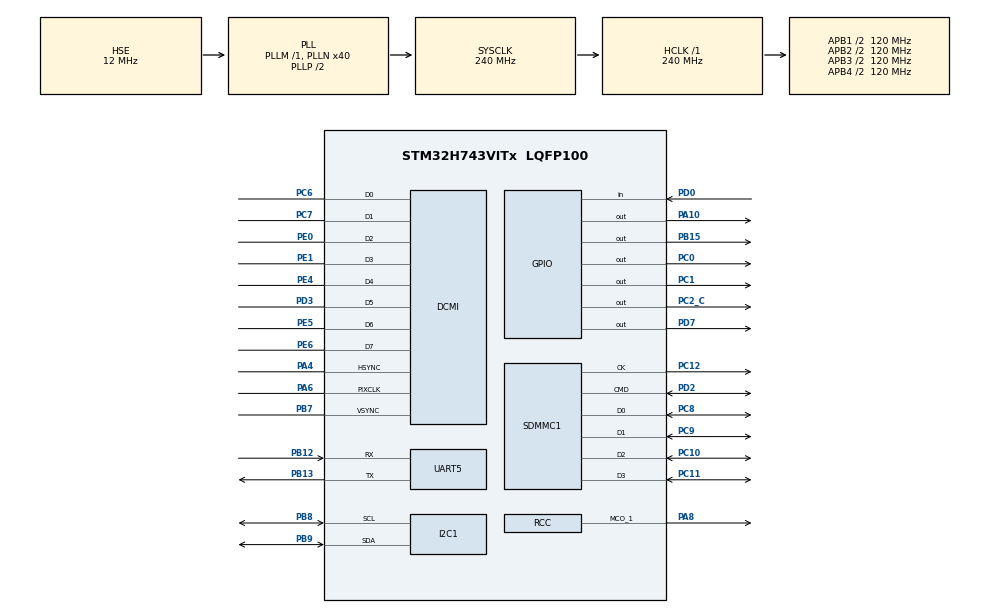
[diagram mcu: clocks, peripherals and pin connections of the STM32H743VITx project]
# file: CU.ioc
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DCMI.HSPolarity=DCMI_HSPOLARITY_LOW
DCMI.LineSelectMode=DCMI_LSM_ALL
DCMI.PCKPolarity=DCMI_PCKPOLARITY_RISING
DCMI.VSPolarity=DCMI_VSPOLARITY_HIGH
Dma.DCMI.0.Direction=DMA_PERIPH_TO_MEMORY
Dma.DCMI.0.EventEnable=DISABLE
Dma.DCMI.0.FIFOMode=DMA_FIFOMODE_DISABLE
Dma.DCMI.0.Instance=DMA1_Stream0
Dma.DCMI.0.MemDataAlignment=DMA_MDATAALIGN_WORD
Dma.DCMI.0.MemInc=DMA_MINC_ENABLE
Dma.DCMI.0.Mode=DMA_CIRCULAR
Dma.DCMI.0.PeriphDataAlignment=DMA_PDATAALIGN_WORD
Dma.DCMI.0.PeriphInc=DMA_PINC_DISABLE
Dma.DCMI.0.Polarity=HAL_DMAMUX_REQ_GEN_RISING
Dma.DCMI.0.Priority=DMA_PRIORITY_LOW
Dma.DCMI.0.RequestNumber=1
Dma.DCMI.0.SignalID=NONE
Dma.DCMI.0.SyncEnable=DISABLE
Dma.DCMI.0.SyncPolarity=HAL_DMAMUX_SYNC_NO_EVENT
Dma.DCMI.0.SyncRequestNumber=1
Dma.DCMI.0.SyncSignalID=NONE
Dma.Request0=DCMI
FATFS.BSP.number=1
FATFS0.BSP.STBoard=false
FATFS0.BSP.api=Unknown
FATFS0.BSP.i2caddr=0
FATFS0.BSP.instance=PD0
FATFS0.BSP.ip=GPIO
FATFS0.BSP.mode=Input
FATFS0.BSP.name=Detect_SDIO
FATFS0.BSP.solution=PD0
I2C1.Speed=100
I2C1.Timing=0x307075B1
Mcu.Family=STM32H7
Mcu.Name=STM32H743VITx
Mcu.Package=LQFP100
NVIC.DMA1_Stream0_IRQn=true\:0\:0\:false\:false\:true\:false\:true
NVIC.PriorityGroup=NVIC_PRIORITYGROUP_4
NVIC.TIM2_IRQn=true\:0\:0\:true\:false\:true\:true\:true
NVIC.UART5_IRQn=true\:0\:0\:false\:false\:true\:true\:true
PA10.PinState=GPIO_PIN_SET
PA10.Signal=GPIO_Output
PA4.Mode=Slave_8_bits_External_Synchro
PA4.Signal=DCMI_HSYNC
PA6.Mode=Slave_8_bits_External_Synchro
PA6.Signal=DCMI_PIXCLK
PA8.Mode=Clock-out-1
PA8.Signal=RCC_MCO_1
PB12.Mode=Asynchronous
PB12.Signal=UART5_RX
PB13.Mode=Asynchronous
PB13.Signal=UART5_TX
PB15.Signal=GPIO_Output
PB7.Mode=Slave_8_bits_External_Synchro
PB7.Signal=DCMI_VSYNC
PB8.Mode=I2C
PB8.Signal=I2C1_SCL
PB9.Mode=I2C
PB9.Signal=I2C1_SDA
PC0.GPIO_ModeDefaultOutputPP=GPIO_MODE_OUTPUT_OD
PC0.Signal=GPIO_Output
PC1.GPIO_ModeDefaultOutputPP=GPIO_MODE_OUTPUT_OD
PC1.Signal=GPIO_Output
PC10.Mode=SD_4_bits_Wide_bus
PC10.Signal=SDMMC1_D2
PC11.Mode=SD_4_bits_Wide_bus
PC11.Signal=SDMMC1_D3
PC12.Mode=SD_4_bits_Wide_bus
PC12.Signal=SDMMC1_CK
PC2_C.GPIO_ModeDefaultOutputPP=GPIO_MODE_OUTPUT_OD
PC2_C.GPIO_PuPd=GPIO_NOPULL
PC2_C.PinState=GPIO_PIN_RESET
PC2_C.Signal=GPIO_Output
PC6.Mode=Slave_8_bits_External_Synchro
PC6.Signal=DCMI_D0
PC7.Mode=Slave_8_bits_External_Synchro
PC7.Signal=DCMI_D1
PC8.Mode=SD_4_bits_Wide_bus
PC8.Signal=SDMMC1_D0
PC9.Mode=SD_4_bits_Wide_bus
PC9.Signal=SDMMC1_D1
PD0.Signal=GPIO_Input
PD2.Mode=SD_4_bits_Wide_bus
PD2.Signal=SDMMC1_CMD
PD3.Mode=Slave_8_bits_External_Synchro
PD3.Signal=DCMI_D5
PD7.Signal=GPIO_Output
PE0.Mode=Slave_8_bits_External_Synchro
PE0.Signal=DCMI_D2
PE1.Mode=Slave_8_bits_External_Synchro
PE1.Signal=DCMI_D3
PE4.Mode=Slave_8_bits_External_Synchro
PE4.Signal=DCMI_D4
PE5.Mode=Slave_8_bits_External_Synchro
PE5.Signal=DCMI_D6
PE6.Mode=Slave_8_bits_External_Synchro
PE6.Signal=DCMI_D7
PH0-OSC_IN\ (PH0).Mode=HSE-External-Oscillator
PH0-OSC_IN\ (PH0).Signal=RCC_OSC_IN
PH1-OSC_OUT\ (PH1).Mode=HSE-External-Oscillator
PH1-OSC_OUT\ (PH1).Signal=RCC_OSC_OUT
ProjectManager.HeapSize=0x200
ProjectManager.StackSize=0x400
ProjectManager.TargetToolchain=MDK-ARM V5
RCC.ADCFreq_Value=240000000
RCC.APB1Freq_Value=120000000
RCC.APB2Freq_Value=120000000
RCC.APB3Freq_Value=120000000
RCC.APB4Freq_Value=120000000
RCC.CortexFreq_Value=240000000
RCC.D1PPRE=RCC_APB3_DIV2
RCC.D2PPRE1=RCC_APB1_DIV2
RCC.D2PPRE2=RCC_APB2_DIV2
RCC.D3PPRE=RCC_APB4_DIV2
RCC.DIVM1=1
RCC.DIVM2=1
RCC.DIVN1=40
RCC.DIVN2=40
RCC.DIVN3=40
RCC.DIVR2=10
RCC.EnbaleCSS=true
RCC.HCLKFreq_Value=240000000
RCC.HSE_VALUE=12000000
RCC.PLLSourceVirtual=RCC_PLLSOURCE_HSE
RCC.PWR_Regulator_Voltage_Scale=PWR_REGULATOR_VOLTAGE_SCALE0
RCC.RCC_MCO1Source=RCC_MCO1SOURCE_HSI48
RCC.RCC_MCODiv1=RCC_MCODIV_2
RCC.SDMMC1CLockSelection=RCC_SDMMCCLKSOURCE_PLL2
RCC.SYSCLKFreq_VALUE=240000000
RCC.SYSCLKSource=RCC_SYSCLKSOURCE_PLLCLK
RCC.USBFreq_Value=240000000
SDMMC1.ClockDiv=2
TIM2.AutoReloadPreload=TIM_AUTORELOAD_PRELOAD_ENABLE
TIM2.ClockDivision=TIM_CLOCKDIVISION_DIV4
TIM2.Period=1999
TIM2.Prescaler=29999
VP_FATFS_VS_SDIO.Mode=SDIO
VP_TIM2_VS_ClockSourceINT.Mode=Internal
board=custom

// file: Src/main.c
/* USER CODE BEGIN Header */
/**
  ******************************************************************************
  * @file           : main.c
  * @brief          : Main program body
  ******************************************************************************
  * @attention
  *
  * <h2><center>&copy; Copyright (c) 2022 STMicroelectronics.
  * All rights reserved.</center></h2>
  *
  * This software component is licensed by ST under Ultimate Liberty license
  * SLA0044, the "License"; You may not use this file except in compliance with
  * the License. You may obtain a copy of the License at:
  *                             www.st.com/SLA0044
  *
  ******************************************************************************
  */
/* USER CODE END Header */

#include "main.h"
#include "dcmi.h"
#include "dma.h"
#include "fatfs.h"
#include "i2c.h"
#include "sdmmc.h"
#include "tim.h"
#include "usart.h"
#include "gpio.h"

/* USER CODE BEGIN Includes */
#include "bmp.h"
/* USER CODE END Includes */

/* USER CODE BEGIN PD */

#define RxBuffer_MaxSize 256

/* USER CODE END PD */

/* USER CODE BEGIN PV */
FATFS fs;
FIL fil;

uint32_t byteswritten;                /* File write counts */
uint32_t bytesread;                   /* File read counts */
uint8_t wtext[] = "This is STM32 working with FatFs"; /* File write buffer */
uint8_t rtext[100];                     /* File read buffers */
char filename[] = "STM.txt";
FRESULT a[5];
uint8_t d=0x00,cd=0x8c; //d发送数据；cd地址，u地址
uint8_t collect[151]; //收集数据
uint32_t buffer[2*320*240/4] __attribute__((section(".ARM.__at_0x24000000")));
HAL_StatusTypeDef b;
uint16_t tmp=0;
char RxBuffer[RxBuffer_MaxSize];
uint8_t aRxBuffer;
uint8_t UART5_Rx_Cnt =0;

/* USER CODE END PV */

void SystemClock_Config(void);
/* USER CODE BEGIN PFP */
void read_Data(uint8_t regadd,uint8_t *data);
/* USER CODE END PFP */

int main(void)
{
  /* USER CODE BEGIN 1 */
	int i;

	BMP bmp;

  /* USER CODE END 1 */

  /* MCU Configuration--------------------------------------------------------*/

  /* Reset of all peripherals, Initializes the Flash interface and the Systick. */
  HAL_Init();

  /* Configure the system clock */
  SystemClock_Config();

  /* Initialize all configured peripherals */
  MX_GPIO_Init();
  MX_DMA_Init();
  MX_TIM2_Init();
  MX_SDMMC1_SD_Init();
  MX_FATFS_Init();
  MX_DCMI_Init();
  MX_I2C1_Init();
  MX_UART5_Init();
  /* USER CODE BEGIN 2 */

//写8c寄存器
	HAL_I2C_Mem_Write(&hi2c1,0x42,0x8c,1,&d,1,1);

	HAL_I2C_Master_Transmit(&hi2c1,0x42,&cd,1,1);
	HAL_I2C_Master_Receive(&hi2c1,0x42,collect,1,1);

//写8c寄存器
  d=0x01;
	HAL_I2C_Mem_Write(&hi2c1,0x42,0x8c,1,&d,1,1);

	HAL_I2C_Master_Transmit(&hi2c1,0x42,&cd,1,1);
	HAL_I2C_Master_Receive(&hi2c1,0x42,collect,1,1);

	wrOV7670Reg(0x12,0x80);
	//延时函数
	i=10000;
	while(i>0)
	{
		i--;
		i++;
		i--;
		i++;
		i--;
		i++;
		i--;
		i++;
		i--;
		i++;
		i--;
		i++;
		i--;
		i++;
		i--;
		i++;
		i--;
		i++;
		i--;
		i++;
		i--;
		i++;
		i--;
		i++;
		i--;
	}
	set_OV7670reg();

	HAL_GPIO_TogglePin(GPIOB,GPIO_PIN_15);
  HAL_DCMI_Start_DMA(&hdcmi,DCMI_MODE_SNAPSHOT,(uint32_t)&buffer[0],2*320*240/4);
	HAL_GPIO_TogglePin(GPIOB,GPIO_PIN_15);

//  HAL_DMA_Start_IT(((&hdcmi)->DMA_Handle),0x48020028,(uint32_t)&buffer[0],1);
  a[0]=f_mount(&fs, "", 0);

	bmp.bitmapfileheader.bfType=0x4D42;
//	bmp.bitmapfileheader.bfType=0xFFFF;
	bmp.bitmapfileheader.bfSize=40+14+320*240*2;
//	bmp.bitmapfileheader.bfSize=0xFFFFFFFF;

	bmp.bitmapfileheader.bfReserved1=0;
	bmp.bitmapfileheader.bfReserved2=0;
	bmp.bitmapfileheader.bfOffBits=54;

	bmp.bitmapinfoheader.biSize=40;
	bmp.bitmapinfoheader.biWidth=320;
	bmp.bitmapinfoheader.biHeight=240;
	bmp.bitmapinfoheader.biPlanes=1;
	bmp.bitmapinfoheader.biBitCount=16;
	bmp.bitmapinfoheader.biCompression=0;
	bmp.bitmapinfoheader.biSizeImage=0;
	bmp.bitmapinfoheader.biXPelsPerMeter=0;
	bmp.bitmapinfoheader.biYPelsPerMeter=0;
	bmp.bitmapinfoheader.biClrUsed=0;
	bmp.bitmapinfoheader.biClrImportant=0;

	bmp.pixel=(unsigned short *)buffer;

  a[1]=f_open(&fil, "1.bmp", FA_CREATE_ALWAYS | FA_WRITE);
  a[2]=f_write(&fil, &bmp.bitmapfileheader, sizeof(bmp.bitmapfileheader), (void *)&byteswritten);
  a[2]=f_write(&fil, &bmp.bitmapinfoheader, sizeof(bmp.bitmapinfoheader), (void *)&byteswritten);

//	for(i=0;i<320*240;i++)
//	{
////		a[2]=f_write(&fil, &bmp.pixel[i], sizeof(bmp.pixel[i]), (void *)&byteswritten);
//
//		if(i<=600 && i>=0)
//		{
//			tmp=0xf800;
//			f_write(&fil, &tmp, sizeof(tmp), (void *)&byteswritten);
//		}
//
//		if(i<=32000 && i>600)
//		{
//			tmp=0x7e0;
//			f_write(&fil, &tmp, sizeof(tmp), (void *)&byteswritten);
//		}
//
//		if(i>32000)
//		{
//		  tmp=0x1f;
//	  	f_write(&fil, &tmp, sizeof(tmp), (void *)&byteswritten);
//		}
//	}

	a[3]=f_close(&fil);

	f_open(&fil, "2.bmp", FA_CREATE_ALWAYS | FA_WRITE);
  f_write(&fil, &bmp.bitmapfileheader, sizeof(bmp.bitmapfileheader), (void *)&byteswritten);
  f_write(&fil, &bmp.bitmapinfoheader, sizeof(bmp.bitmapinfoheader), (void *)&byteswritten);
	for(i=0;i<320*240;i++)
	{
		f_write(&fil, &bmp.pixel[i], sizeof(bmp.pixel[i]), (void *)&byteswritten);
	}
	f_close(&fil);

	a[1]=f_open(&fil,filename,FA_CREATE_ALWAYS | FA_WRITE);
  a[2]=f_write(&fil,&bmp.bitmapfileheader.bfType, sizeof(bmp.bitmapfileheader.bfType), (void *)&byteswritten);
  a[3]=f_close(&fil);

	HAL_UART_Receive_IT(&huart5,(uint8_t *)&aRxBuffer,1);

//	HAL_GPIO_WritePin(GPIOD,GPIO_PIN_7,GPIO_PIN_SET);
  /* USER CODE END 2 */

  /* Infinite loop */
  while (1)
  {

    /* USER CODE BEGIN 3 */
		if(tmp)
		{
//			HAL_UART_Transmit(&huart5, (uint8_t *)buffer,100,0xFFFF);
			HAL_DCMI_Stop(&hdcmi);
//			HAL_DCMI_Start_DMA(&hdcmi,DCMI_MODE_SNAPSHOT,(uint32_t)&buffer[0],2*320*240/4);
//			while(HAL_DCMI_GetState(&hdcmi)==HAL_DCMI_STATE_BUSY)
//			{}

			b=HAL_UART_Transmit(&huart5, (uint8_t *)buffer,60000,0xFFFF);
		  HAL_UART_Transmit(&huart5, (uint8_t *)&buffer[15000],60000,0xFFFF);
		  HAL_UART_Transmit(&huart5, (uint8_t *)&buffer[30000],33600,0xFFFF);
//			xxx=buffer[15000];
//			xxx=buffer[30000];
//			xxx=0xFFFF2211;
//			b=HAL_UART_Transmit(&huart5, (uint8_t *)&xxx,4,0xFFFF);
//			xxx=0x33EEEEEE;
//			HAL_UART_Transmit(&huart5, (uint8_t *)&xxx,4,0xFFFF);
//			xxx=0xCCCCCCCC;
//			HAL_UART_Transmit(&huart5, (uint8_t *)&xxx,4,0xFFFF);
      HAL_DCMI_Start_DMA(&hdcmi,DCMI_MODE_SNAPSHOT,(uint32_t)&buffer[0],2*320*240/4);

//			HAL_GPIO_WritePin(GPIOD,GPIO_PIN_7,GPIO_PIN_RESET);

			HAL_GPIO_TogglePin(GPIOB,GPIO_PIN_15);
			i=30000;
			while(i>0)
			{
				i--;
				i++;
				i--;
				i++;
				i--;
				i++;
				i--;
				i++;
				i--;
				i++;
				i--;
				i++;
				i--;
				i++;
				i--;
				i++;
				i--;
				i++;
				i--;
				i++;
				i--;
				i++;
				i--;
				i++;
				i--;
			}
			HAL_GPIO_TogglePin(GPIOB,GPIO_PIN_15);

			read_Data(0x3a, &collect[0]);
			read_Data(0x40, &collect[1]);
			read_Data(0x12, &collect[2]);
			read_Data(0x32, &collect[3]);
			read_Data(0x17, &collect[4]);
			read_Data(0x18, &collect[5]);
			read_Data(0x19, &collect[6]);
			read_Data(0x1a, &collect[7]);
			read_Data(0x03, &collect[8]);
			read_Data(0x0c, &collect[9]);
			read_Data(0x3e, &collect[10]);
			read_Data(0x70, &collect[11]);
			read_Data(0x71, &collect[12]);
			read_Data(0x72, &collect[13]);
			read_Data(0x73, &collect[14]);
			read_Data(0xa2, &collect[15]);
			read_Data(0x11, &collect[16]);

			read_Data(0x7a, &collect[17]);
			read_Data(0x7b, &collect[18]);
			read_Data(0x7c, &collect[19]);
			read_Data(0x7d, &collect[20]);
			read_Data(0x7e, &collect[21]);
			read_Data(0x7f, &collect[22]);
			read_Data(0x80, &collect[23]);
			read_Data(0x81, &collect[24]);
			read_Data(0x82, &collect[25]);
			read_Data(0x83, &collect[26]);
			read_Data(0x84, &collect[27]);
			read_Data(0x85, &collect[28]);
			read_Data(0x86, &collect[29]);
			read_Data(0x87, &collect[30]);
			read_Data(0x88, &collect[31]);
			read_Data(0x89, &collect[32]);

			read_Data(0x13, &collect[33]);
			read_Data(0x00, &collect[34]);

			read_Data(0x10, &collect[35]);
			read_Data(0x0d, &collect[36]);
			read_Data(0x14, &collect[37]);
			read_Data(0xa5, &collect[38]);
			read_Data(0xab, &collect[39]);
			read_Data(0x24, &collect[40]);
			read_Data(0x25, &collect[41]);
			read_Data(0x26, &collect[42]);
			read_Data(0x9f, &collect[43]);
			read_Data(0xa0, &collect[44]);
			read_Data(0xa1, &collect[45]);
			read_Data(0xa6, &collect[46]);
			read_Data(0xa7, &collect[47]);
			read_Data(0xa8, &collect[48]);
			read_Data(0xa9, &collect[49]);
			read_Data(0xaa, &collect[50]);
			read_Data(0x13, &collect[51]);

			read_Data(0x0e, &collect[52]);
			read_Data(0x0f, &collect[53]);
			read_Data(0x16, &collect[54]);
			read_Data(0x1e, &collect[55]);
			read_Data(0x21, &collect[56]);
			read_Data(0x22, &collect[57]);
			read_Data(0x29, &collect[58]);
			read_Data(0x33, &collect[59]);
			read_Data(0x35, &collect[60]);
			read_Data(0x37, &collect[61]);
			read_Data(0x38, &collect[62]);
			read_Data(0x39, &collect[63]);
			read_Data(0x3c, &collect[64]);
			read_Data(0x4d, &collect[65]);
			read_Data(0x4e, &collect[66]);
			read_Data(0x69, &collect[67]);
			read_Data(0x6b, &collect[68]);
			read_Data(0x74, &collect[69]);
			read_Data(0x8d, &collect[70]);
			read_Data(0x8e, &collect[71]);
			read_Data(0x8f, &collect[72]);
			read_Data(0x90, &collect[73]);
			read_Data(0x91, &collect[74]);
			read_Data(0x92, &collect[75]);
			read_Data(0x96, &collect[76]);
			read_Data(0x9a, &collect[77]);
			read_Data(0xb0, &collect[78]);
			read_Data(0xb1, &collect[79]);
			read_Data(0xb2, &collect[80]);
			read_Data(0xb3, &collect[81]);
			read_Data(0xb8, &collect[82]);

			read_Data(0x43, &collect[83]);
			read_Data(0x44, &collect[84]);
			read_Data(0x45, &collect[85]);
			read_Data(0x46, &collect[86]);
			read_Data(0x47, &collect[87]);
			read_Data(0x48, &collect[88]);
			read_Data(0x59, &collect[89]);
			read_Data(0x5a, &collect[90]);
			read_Data(0x5b, &collect[91]);
			read_Data(0x5c, &collect[92]);
			read_Data(0x5d, &collect[93]);
			read_Data(0x5e, &collect[94]);
			read_Data(0x64, &collect[95]);
			read_Data(0x65, &collect[96]);
			read_Data(0x66, &collect[97]);
			read_Data(0x94, &collect[98]);
			read_Data(0x95, &collect[99]);
			read_Data(0x6c, &collect[100]);
			read_Data(0x6d, &collect[101]);
			read_Data(0x6e, &collect[102]);
			read_Data(0x6f, &collect[103]);
			read_Data(0x6a, &collect[104]);
			read_Data(0x01, &collect[105]);
			read_Data(0x02, &collect[106]);
			read_Data(0x13, &collect[107]);
			read_Data(0x15, &collect[108]);

			read_Data(0x4f, &collect[109]);
			read_Data(0x50, &collect[110]);
			read_Data(0x51, &collect[111]);
			read_Data(0x52, &collect[112]);
			read_Data(0x53, &collect[113]);
			read_Data(0x54, &collect[114]);
			read_Data(0x58, &collect[115]);

			read_Data(0x41, &collect[116]);
			read_Data(0x3f, &collect[117]);
			read_Data(0x75, &collect[118]);
			read_Data(0x76, &collect[119]);
			read_Data(0x4c, &collect[120]);
			read_Data(0x77, &collect[121]);
			read_Data(0x3d, &collect[122]);
			read_Data(0x4b, &collect[123]);
			read_Data(0xc9, &collect[124]);
			read_Data(0x41, &collect[125]);
			read_Data(0x56, &collect[126]);

			read_Data(0x34, &collect[127]);
			read_Data(0x3b, &collect[128]);

			read_Data(0xa4, &collect[129]);
			read_Data(0x96, &collect[130]);
			read_Data(0x97, &collect[131]);
			read_Data(0x98, &collect[132]);
			read_Data(0x99, &collect[133]);
			read_Data(0x9a, &collect[134]);
			read_Data(0x9b, &collect[135]);
			read_Data(0x9c, &collect[136]);
			read_Data(0x9d, &collect[137]);
			read_Data(0x9e, &collect[138]);
			read_Data(0x78, &collect[139]);

			tmp=0;
		}

  }
  /* USER CODE END 3 */
}

void SystemClock_Config(void)
{
  RCC_OscInitTypeDef RCC_OscInitStruct = {0};
  RCC_ClkInitTypeDef RCC_ClkInitStruct = {0};
  RCC_PeriphCLKInitTypeDef PeriphClkInitStruct = {0};

  /** Supply configuration update enable
  */
  HAL_PWREx_ConfigSupply(PWR_LDO_SUPPLY);
  /** Configure the main internal regulator output voltage
  */
  __HAL_PWR_VOLTAGESCALING_CONFIG(PWR_REGULATOR_VOLTAGE_SCALE0);

  while(!__HAL_PWR_GET_FLAG(PWR_FLAG_VOSRDY)) {}
  /** Macro to configure the PLL clock source
  */
  __HAL_RCC_PLL_PLLSOURCE_CONFIG(RCC_PLLSOURCE_HSE);
  /** Initializes the CPU, AHB and APB busses clocks
  */
  RCC_OscInitStruct.OscillatorType = RCC_OSCILLATORTYPE_HSI48|RCC_OSCILLATORTYPE_HSE;
  RCC_OscInitStruct.HSEState = RCC_HSE_ON;
  RCC_OscInitStruct.HSI48State = RCC_HSI48_ON;
  RCC_OscInitStruct.PLL.PLLState = RCC_PLL_ON;
  RCC_OscInitStruct.PLL.PLLSource = RCC_PLLSOURCE_HSE;
  RCC_OscInitStruct.PLL.PLLM = 1;
  RCC_OscInitStruct.PLL.PLLN = 40;
  RCC_OscInitStruct.PLL.PLLP = 2;
  RCC_OscInitStruct.PLL.PLLQ = 2;
  RCC_OscInitStruct.PLL.PLLR = 2;
  RCC_OscInitStruct.PLL.PLLRGE = RCC_PLL1VCIRANGE_3;
  RCC_OscInitStruct.PLL.PLLVCOSEL = RCC_PLL1VCOWIDE;
  RCC_OscInitStruct.PLL.PLLFRACN = 0;
  if (HAL_RCC_OscConfig(&RCC_OscInitStruct) != HAL_OK)
  {
    Error_Handler();
  }
  /** Initializes the CPU, AHB and APB busses clocks
  */
  RCC_ClkInitStruct.ClockType = RCC_CLOCKTYPE_HCLK|RCC_CLOCKTYPE_SYSCLK
                              |RCC_CLOCKTYPE_PCLK1|RCC_CLOCKTYPE_PCLK2
                              |RCC_CLOCKTYPE_D3PCLK1|RCC_CLOCKTYPE_D1PCLK1;
  RCC_ClkInitStruct.SYSCLKSource = RCC_SYSCLKSOURCE_PLLCLK;
  RCC_ClkInitStruct.SYSCLKDivider = RCC_SYSCLK_DIV1;
  RCC_ClkInitStruct.AHBCLKDivider = RCC_HCLK_DIV1;
  RCC_ClkInitStruct.APB3CLKDivider = RCC_APB3_DIV2;
  RCC_ClkInitStruct.APB1CLKDivider = RCC_APB1_DIV2;
  RCC_ClkInitStruct.APB2CLKDivider = RCC_APB2_DIV2;
  RCC_ClkInitStruct.APB4CLKDivider = RCC_APB4_DIV2;

  if (HAL_RCC_ClockConfig(&RCC_ClkInitStruct, FLASH_LATENCY_4) != HAL_OK)
  {
    Error_Handler();
  }
  PeriphClkInitStruct.PeriphClockSelection = RCC_PERIPHCLK_UART5|RCC_PERIPHCLK_SDMMC
                              |RCC_PERIPHCLK_I2C1;
  PeriphClkInitStruct.PLL2.PLL2M = 1;
  PeriphClkInitStruct.PLL2.PLL2N = 40;
  PeriphClkInitStruct.PLL2.PLL2P = 2;
  PeriphClkInitStruct.PLL2.PLL2Q = 2;
  PeriphClkInitStruct.PLL2.PLL2R = 10;
  PeriphClkInitStruct.PLL2.PLL2RGE = RCC_PLL2VCIRANGE_3;
  PeriphClkInitStruct.PLL2.PLL2VCOSEL = RCC_PLL2VCOWIDE;
  PeriphClkInitStruct.PLL2.PLL2FRACN = 0;
  PeriphClkInitStruct.SdmmcClockSelection = RCC_SDMMCCLKSOURCE_PLL2;
  PeriphClkInitStruct.Usart234578ClockSelection = RCC_USART234578CLKSOURCE_D2PCLK1;
  PeriphClkInitStruct.I2c123ClockSelection = RCC_I2C123CLKSOURCE_D2PCLK1;
  if (HAL_RCCEx_PeriphCLKConfig(&PeriphClkInitStruct) != HAL_OK)
  {
    Error_Handler();
  }
  HAL_RCC_MCOConfig(RCC_MCO1, RCC_MCO1SOURCE_HSI48, RCC_MCODIV_6);
  /** Enables the Clock Security System
  */
  HAL_RCC_EnableCSS();
}

/* USER CODE BEGIN 4 */
void HAL_UART_RxCpltCallback(UART_HandleTypeDef *huart)
{
  /* Prevent unused argument(s) compilation warning */
  UNUSED(huart);
  /* NOTE: This function Should not be modified, when the callback is needed,
           the HAL_UART_TxCpltCallback could be implemented in the user file
   */

    if(UART5_Rx_Cnt >= 255)  //????
    {
        UART5_Rx_Cnt = 0;
        memset(RxBuffer,0x00,sizeof(RxBuffer));
        HAL_UART_Transmit(&huart5, (uint8_t *)"数据溢出", 10,0xFFFF);

    }
    else
    {
        RxBuffer[UART5_Rx_Cnt++] = aRxBuffer;   //??????

        if((RxBuffer[UART5_Rx_Cnt-1] == 0x0A)&&(RxBuffer[UART5_Rx_Cnt-2] == 0x0D)) //?????
        {

//					HAL_UART_Transmit(&huart5, (uint8_t *)RxBuffer, UART5_Rx_Cnt,0xFFFF); //??**????**????????
					tmp=1;
					if(RxBuffer[0] != 0xFF)
					{
						wrOV7670Reg(RxBuffer[0], RxBuffer[1]);
					}
					while(HAL_UART_GetState(&huart5) == HAL_UART_STATE_BUSY_TX);//??UART????
					UART5_Rx_Cnt = 0;
					memset(RxBuffer,0x00,sizeof(RxBuffer)); //????
        }
		}
    HAL_UART_Receive_IT(&huart5, (uint8_t *)&aRxBuffer, 1);   //??????
}

void read_Data(uint8_t regadd,uint8_t *data)
{
	HAL_I2C_Master_Transmit(&hi2c1,0x42,&regadd,1,1);
	HAL_I2C_Master_Receive(&hi2c1,0x42,data,1,1);
}
/* USER CODE END 4 */

void Error_Handler(void)
{
}

/************************ (C) COPYRIGHT STMicroelectronics *****END OF FILE****/
